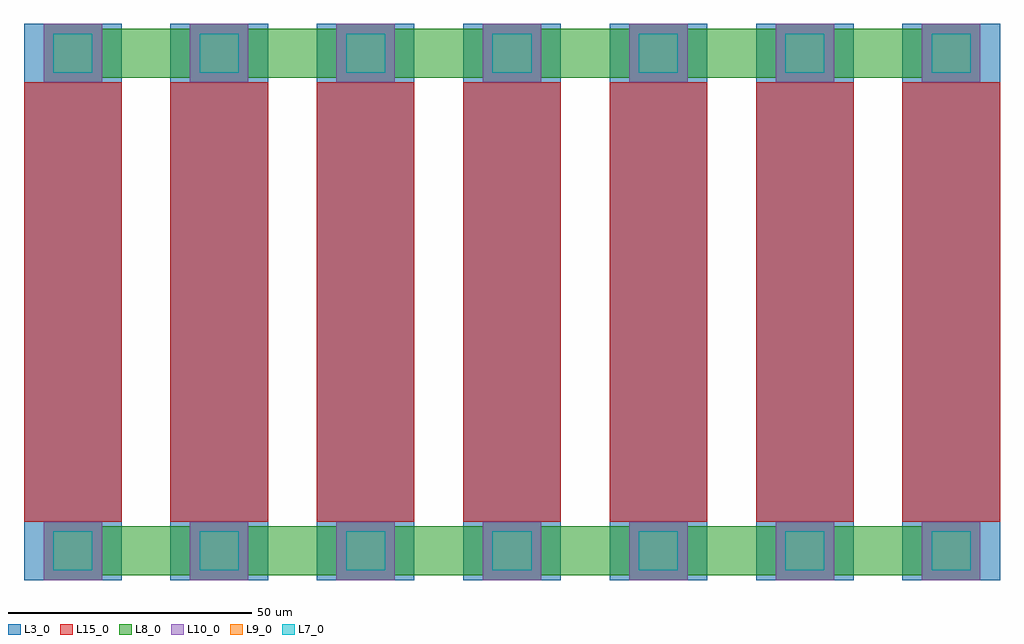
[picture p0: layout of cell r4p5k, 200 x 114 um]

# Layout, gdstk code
import gdstk
lib = gdstk.Library(unit=1e-6, precision=1e-09)
def R(c, l, rs):  # rectangles x0, y0, x1, y1
    for r in rs: c.add(gdstk.rectangle(r[:2], r[2:], *l))
L3_0 = (3, 0)
L7_0 = (7, 0)
L8_0 = (8, 0)
L9_0 = (9, 0)
L10_0 = (10, 0)
L15_0 = (15, 0)

r_diff_3 = lib.new_cell('R_diff$3')
R(r_diff_3, L3_0, [(0,0,12,12), (0,102,12,114)])
R(r_diff_3, L7_0, [(2,2,10,10), (2,104,10,112)])
R(r_diff_3, L8_0, [(0,0,12,12), (0,0,12,12), (0,102,12,114), (0,102,12,114)])
R(r_diff_3, L9_0, [(2,2,10,10), (2,104,10,112)])
R(r_diff_3, L10_0, [(0,0,12,12), (0,102,12,114)])
r_diff_3.add(gdstk.FlexPath([(6,0),(6,114)], 20, ends="flush", simple_path=True, layer=3, datatype=0))  # L3_0
r_diff_3.add(gdstk.FlexPath([(6,12),(6,102)], 20, ends="flush", simple_path=True, layer=15, datatype=0))  # L15_0

r4p5k = lib.new_cell('r4p5k')
r4p5k.add(gdstk.FlexPath([(10,107.5),(189.5,107.5)], 10, ends="flush", simple_path=True, layer=8, datatype=0))  # L8_0
r4p5k.add(gdstk.FlexPath([(10,5.5),(190.5,5.5)], 10, ends="flush", simple_path=True, layer=8, datatype=0))  # L8_0
r4p5k.add(gdstk.Reference(r_diff_3, (4,-0.5)))
r4p5k.add(gdstk.Reference(r_diff_3, (34,-0.5)))
r4p5k.add(gdstk.Reference(r_diff_3, (64,-0.5)))
r = gdstk.Reference(r_diff_3, (124,-0.5)); r.repetition = gdstk.Repetition(1, 1, v1=(0,0), v2=(0,0)); r4p5k.add(r)
r = gdstk.Reference(r_diff_3, (154,-0.5)); r.repetition = gdstk.Repetition(1, 1, v1=(0,0), v2=(0,0)); r4p5k.add(r)
r = gdstk.Reference(r_diff_3, (184,-0.5)); r.repetition = gdstk.Repetition(1, 1, v1=(0,0), v2=(0,0)); r4p5k.add(r)
r = gdstk.Reference(r_diff_3, (94,-0.5)); r.repetition = gdstk.Repetition(1, 1, v1=(0,0), v2=(0,0)); r4p5k.add(r)

lib.write_gds('r4p5k.gds')
